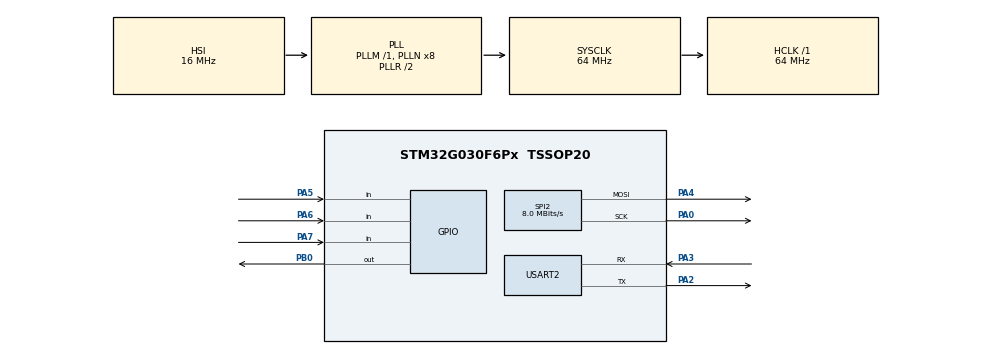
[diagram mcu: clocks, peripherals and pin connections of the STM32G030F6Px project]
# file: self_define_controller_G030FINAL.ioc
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Dma.Request0=SPI2_TX
Dma.SPI2_TX.0.Direction=DMA_MEMORY_TO_PERIPH
Dma.SPI2_TX.0.EventEnable=DISABLE
Dma.SPI2_TX.0.Instance=DMA1_Channel1
Dma.SPI2_TX.0.MemDataAlignment=DMA_MDATAALIGN_BYTE
Dma.SPI2_TX.0.MemInc=DMA_MINC_ENABLE
Dma.SPI2_TX.0.Mode=DMA_NORMAL
Dma.SPI2_TX.0.PeriphDataAlignment=DMA_PDATAALIGN_BYTE
Dma.SPI2_TX.0.PeriphInc=DMA_PINC_DISABLE
Dma.SPI2_TX.0.Polarity=HAL_DMAMUX_REQ_GEN_RISING
Dma.SPI2_TX.0.Priority=DMA_PRIORITY_HIGH
Dma.SPI2_TX.0.RequestNumber=1
Dma.SPI2_TX.0.SignalID=NONE
Dma.SPI2_TX.0.SyncEnable=DISABLE
Dma.SPI2_TX.0.SyncPolarity=HAL_DMAMUX_SYNC_NO_EVENT
Dma.SPI2_TX.0.SyncRequestNumber=1
Dma.SPI2_TX.0.SyncSignalID=NONE
FREERTOS.Tasks01=LEDTask,0,128,StartLEDTask,As weak,NULL,Dynamic,NULL,NULL;COMTask,0,128,StartCOMTask,As weak,NULL,Dynamic,NULL,NULL
Mcu.Family=STM32G0
Mcu.Name=STM32G030F6Px
Mcu.Package=TSSOP20
NVIC.DMA1_Channel1_IRQn=true\:3\:0\:false\:false\:true\:true\:false\:true\:true
NVIC.TIM3_IRQn=true\:3\:0\:false\:false\:true\:false\:false\:true\:true
NVIC.TimeBase=TIM3_IRQn
NVIC.TimeBaseIP=TIM3
NVIC.USART2_IRQn=true\:3\:0\:false\:false\:true\:true\:true\:true\:true
PA0.Mode=TX_Only_Simplex_Unidirect_Master
PA0.Signal=SPI2_SCK
PA13.Mode=Serial_Wire
PA13.Signal=SYS_SWDIO
PA14-BOOT0.Mode=Serial_Wire
PA14-BOOT0.Signal=SYS_SWCLK
PA14-BOOT0__PA15.StandardMode=true
PA2.Mode=Asynchronous
PA2.Signal=USART2_TX
PA3.Mode=Asynchronous
PA3.Signal=USART2_RX
PA4.GPIO_Speed=GPIO_SPEED_FREQ_HIGH
PA4.Mode=TX_Only_Simplex_Unidirect_Master
PA4.Signal=SPI2_MOSI
PA5.Signal=GPIO_Input
PA6.Signal=GPIO_Input
PA7.Signal=GPIO_Input
PB0.GPIO_ModeDefaultOutputPP=GPIO_MODE_OUTPUT_OD
PB0.GPIO_PuPd=GPIO_PULLUP
PB0.PinState=GPIO_PIN_SET
PB0.Signal=GPIO_Output
PB0__PB1__PB2__PA8.StandardMode=true
PB3__PB4__PB5__PB6.StandardMode=true
PB7__PB8.StandardMode=true
PC14-OSC32_IN\ (PC14)__PB9.StandardMode=true
ProjectManager.HeapSize=0x200
ProjectManager.StackSize=0x400
ProjectManager.TargetToolchain=MDK-ARM V5
RCC.ADCFreq_Value=64000000
RCC.AHBFreq_Value=64000000
RCC.CortexFreq_Value=64000000
RCC.EXTERNAL_CLOCK_VALUE=12288000
RCC.HCLKFreq_Value=64000000
RCC.HSE_VALUE=8000000
RCC.HSI_VALUE=16000000
RCC.LSE_VALUE=32768
RCC.SYSCLKFreq_VALUE=64000000
RCC.SYSCLKSource=RCC_SYSCLKSOURCE_PLLCLK
RCC.VCOOutputFreq_Value=128000000
SPI2.BaudRatePrescaler=SPI_BAUDRATEPRESCALER_8
SPI2.CalculateBaudRate=8.0 MBits/s
SPI2.Direction=SPI_DIRECTION_2LINES
SPI2.Mode=SPI_MODE_MASTER
SPI2.VirtualType=VM_MASTER
USART2.VirtualMode-Asynchronous=VM_ASYNC
VP_FREERTOS_VS_CMSIS_V1.Mode=CMSIS_V1
VP_SYS_VS_tim3.Mode=TIM3
VP_TIM14_VS_ClockSourceINT.Mode=Enable_Timer
board=custom

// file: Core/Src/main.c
/* USER CODE BEGIN Header */
/**
  ******************************************************************************
  * @file           : main.c
  * @brief          : Main program body
  ******************************************************************************
  * @attention
  *
  * Copyright (c) 2023 STMicroelectronics.
  * All rights reserved.
  *
  * This software is licensed under terms that can be found in the LICENSE file
  * in the root directory of this software component.
  * If no LICENSE file comes with this software, it is provided AS-IS.
  *
  ******************************************************************************
  */
/* USER CODE END Header */
#include "main.h"
#include "cmsis_os.h"
#include "dma.h"
#include "spi.h"
#include "tim.h"
#include "usart.h"
#include "gpio.h"

/* USER CODE BEGIN Includes */
#include "TPdef.h"
/* USER CODE END Includes */

/* USER CODE BEGIN PTD */
typedef struct
{
  uint16_t RCFrameCounter;

  uint16_t ch0;
  uint16_t ch1;
  uint16_t ch2;
  uint16_t ch3;
	uint16_t ch4;
  uint8_t  Switch_Left;
  uint8_t  Switch_Right;

  struct
  {
    int16_t x;
    int16_t y;
    int16_t z;
    uint8_t press_left;
    uint8_t press_right;
  }mouse;

  struct
  {
    uint16_t key_code;
  }key_board;
}RCDecoding_Type;
/* USER CODE END PTD */

/* USER CODE BEGIN PV */
RCDecoding_Type RC_ReceiveData;
uint32_t myTxMailbox;
uint8_t RC_Rx_Mem;
uint8_t RC_Receive[2][RC_FRAME_LEN+RC_FRAME_LEN_BACK];
/* USER CODE END PV */

void SystemClock_Config(void);
void MX_FREERTOS_Init(void);

/* USER CODE BEGIN 0 */
void RC_Init()
{
	  RC_ReceiveData.RCFrameCounter = 0;                          //FrameCounter

    RC_Rx_Mem = MEMORY0;                                    //BufferSelect

    RC_ReceiveData.ch0 = RC_CH_VALUE_OFFSET;                    //ch0 offset
    RC_ReceiveData.ch1 = RC_CH_VALUE_OFFSET;                    //ch1 offset
    RC_ReceiveData.ch2 = RC_CH_VALUE_OFFSET;                    //ch2 offset
    RC_ReceiveData.ch3 = RC_CH_VALUE_OFFSET;                    //ch3 offset
    RC_ReceiveData.ch4 = RC_CH_VALUE_OFFSET;

    RC_ReceiveData.Switch_Left = RC_SW_MID;                      //switch left offset
    RC_ReceiveData.Switch_Right = RC_SW_MID;                     //switch right offset

    RC_ReceiveData.mouse.x = MOUSE_SPEED_OFFSET;                //Mouse speed-x
    RC_ReceiveData.mouse.y = MOUSE_SPEED_OFFSET;                //Mouse speed-y
    RC_ReceiveData.mouse.z = MOUSE_SPEED_OFFSET;                //Mouse speed-z

    RC_ReceiveData.mouse.press_left = MOUSE_PRESSED_OFFSET;     //Mouse left button
    RC_ReceiveData.mouse.press_right = MOUSE_PRESSED_OFFSET;    //Mouse right button

    RC_ReceiveData.key_board.key_code = KEY_OFFSET;             //Key pressed
}

int flag=0;
int c=0;
int d=0;
int e=0;
int f=0;
uint32_t x=0;
int tick=0;
int tick1=0;
int tick2=0;
int tick3=0;
uint8_t yi=0;
int x2=2;
int chk=0;
int chk2=0;

/* USER CODE END 0 */

int main(void)
{

  /* MCU Configuration--------------------------------------------------------*/

  /* Reset of all peripherals, Initializes the Flash interface and the Systick. */
  HAL_Init();

  /* Configure the system clock */
  SystemClock_Config();

  /* Initialize all configured peripherals */
  MX_GPIO_Init();
  MX_DMA_Init();
  MX_USART2_UART_Init();
  MX_SPI2_Init();
  MX_TIM14_Init();

  /* Call init function for freertos objects (in cmsis_os2.c) */
  MX_FREERTOS_Init();

  /* Start scheduler */
  osKernelStart();

  /* We should never get here as control is now taken by the scheduler */

  /* Infinite loop */
  while (1)
  {

  }
}

void SystemClock_Config(void)
{
  RCC_OscInitTypeDef RCC_OscInitStruct = {0};
  RCC_ClkInitTypeDef RCC_ClkInitStruct = {0};

  /** Configure the main internal regulator output voltage
  */
  HAL_PWREx_ControlVoltageScaling(PWR_REGULATOR_VOLTAGE_SCALE1);

  /** Initializes the RCC Oscillators according to the specified parameters
  * in the RCC_OscInitTypeDef structure.
  */
  RCC_OscInitStruct.OscillatorType = RCC_OSCILLATORTYPE_HSI;
  RCC_OscInitStruct.HSIState = RCC_HSI_ON;
  RCC_OscInitStruct.HSIDiv = RCC_HSI_DIV1;
  RCC_OscInitStruct.HSICalibrationValue = RCC_HSICALIBRATION_DEFAULT;
  RCC_OscInitStruct.PLL.PLLState = RCC_PLL_ON;
  RCC_OscInitStruct.PLL.PLLSource = RCC_PLLSOURCE_HSI;
  RCC_OscInitStruct.PLL.PLLM = RCC_PLLM_DIV1;
  RCC_OscInitStruct.PLL.PLLN = 8;
  RCC_OscInitStruct.PLL.PLLP = RCC_PLLP_DIV2;
  RCC_OscInitStruct.PLL.PLLR = RCC_PLLR_DIV2;
  if (HAL_RCC_OscConfig(&RCC_OscInitStruct) != HAL_OK)
  {
    Error_Handler();
  }

  /** Initializes the CPU, AHB and APB buses clocks
  */
  RCC_ClkInitStruct.ClockType = RCC_CLOCKTYPE_HCLK|RCC_CLOCKTYPE_SYSCLK
                              |RCC_CLOCKTYPE_PCLK1;
  RCC_ClkInitStruct.SYSCLKSource = RCC_SYSCLKSOURCE_PLLCLK;
  RCC_ClkInitStruct.AHBCLKDivider = RCC_SYSCLK_DIV1;
  RCC_ClkInitStruct.APB1CLKDivider = RCC_HCLK_DIV1;

  if (HAL_RCC_ClockConfig(&RCC_ClkInitStruct, FLASH_LATENCY_2) != HAL_OK)
  {
    Error_Handler();
  }
}

void HAL_TIM_PeriodElapsedCallback(TIM_HandleTypeDef *htim)
{
  if (htim->Instance == TIM3)
  {
    HAL_IncTick();
  }
}

void Error_Handler(void)
{
  __disable_irq();
  while (1)
  {
  }
}

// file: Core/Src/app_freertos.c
/* USER CODE BEGIN Header */
/**
  ******************************************************************************
  * File Name          : app_freertos.c
  * Description        : Code for freertos applications
  ******************************************************************************
  * @attention
  *
  * Copyright (c) 2025 STMicroelectronics.
  * All rights reserved.
  *
  * This software is licensed under terms that can be found in the LICENSE file
  * in the root directory of this software component.
  * If no LICENSE file comes with this software, it is provided AS-IS.
  *
  ******************************************************************************
  */
/* USER CODE END Header */

#include "FreeRTOS.h"
#include "task.h"
#include "main.h"
#include "cmsis_os.h"

osThreadId LEDTaskHandle;
osThreadId COMTaskHandle;

void StartLEDTask(void const * argument);
void StartCOMTask(void const * argument);

void MX_FREERTOS_Init(void); /* (MISRA C 2004 rule 8.1) */

void MX_FREERTOS_Init(void) {

  /* Create the thread(s) */
  /* definition and creation of LEDTask */
  osThreadDef(LEDTask, StartLEDTask, osPriorityNormal, 0, 128);
  LEDTaskHandle = osThreadCreate(osThread(LEDTask), NULL);

  /* definition and creation of COMTask */
  osThreadDef(COMTask, StartCOMTask, osPriorityNormal, 0, 128);
  COMTaskHandle = osThreadCreate(osThread(COMTask), NULL);

}

__weak void StartLEDTask(void const * argument)
{
  for(;;)
  {
    osDelay(1);
  }
}

__weak void StartCOMTask(void const * argument)
{
  for(;;)
  {
    osDelay(1);
  }
}
